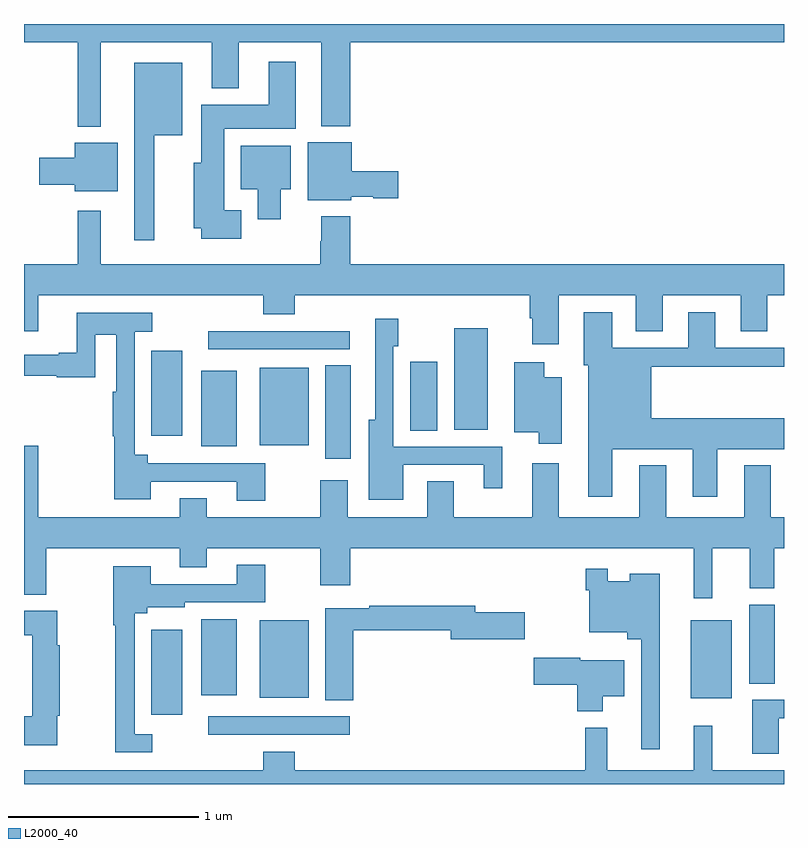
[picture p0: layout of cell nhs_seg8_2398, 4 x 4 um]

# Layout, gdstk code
import gdstk
lib = gdstk.Library(unit=1e-6, precision=1e-09)
def R(c, l, rs):  # rectangles x0, y0, x1, y1
    for r in rs: c.add(gdstk.rectangle(r[:2], r[2:], *l))
def P(c, l, *ps):  # polygons
    for p in ps: c.add(gdstk.Polygon(p, *l))
L2000_40 = (2000, 40)

nhs_seg8_2398 = lib.new_cell('nhs_seg8_2398')
R(nhs_seg8_2398, L2000_40, [(261.969,1142.16,262.714,1142.256), (261.671,1142.265,261.832,1142.713), (264.509,1142.351,264.724,1142.761), (262.241,1142.354,262.498,1142.761), (261.932,1142.366,262.12,1142.767), (264.818,1142.428,264.952,1142.844), (262.586,1143.612,262.72,1144.103), (261.932,1143.677,262.12,1144.075), (262.241,1143.683,262.498,1144.09), (261.671,1143.732,261.832,1144.18), (263.033,1143.76,263.176,1144.123), (263.264,1143.764,263.44,1144.3), (261.969,1144.188,262.714,1144.284)])
P(nhs_seg8_2398, L2000_40, [(261.403,1145.804),(261.989,1145.804),(261.989,1145.561),(262.129,1145.561),(262.129,1145.804),(262.565,1145.804),(262.565,1145.363),(262.718,1145.363),(262.718,1145.804),(265,1145.804),(265,1145.9),(261,1145.9),(261,1145.804),(261.282,1145.804),(261.282,1145.36),(261.403,1145.36)],
  [(262.144,1144.921),(262.054,1144.921),(262.054,1145.348),(262.429,1145.348),(262.429,1145.701),(262.289,1145.701),(262.289,1145.476),(261.932,1145.476),(261.932,1145.17),(261.893,1145.17),(261.893,1144.826),(261.932,1144.826),(261.932,1144.769),(262.144,1144.769)],
  [(261.685,1145.315),(261.832,1145.315),(261.832,1145.695),(261.581,1145.695),(261.581,1144.761),(261.685,1144.761)],
  [(262.722,1144.991),(262.839,1144.991),(262.839,1144.984),(262.969,1144.984),(262.969,1145.126),(262.726,1145.126),(262.726,1145.278),(262.493,1145.278),(262.493,1144.973),(262.722,1144.973)],
  [(261.493,1145.275),(261.266,1145.275),(261.266,1145.195),(261.081,1145.195),(261.081,1145.053),(261.266,1145.053),(261.266,1145.021),(261.493,1145.021)],
  [(262.351,1145.03),(262.405,1145.03),(262.405,1145.26),(262.142,1145.26),(262.142,1145.03),(262.229,1145.03),(262.229,1144.872),(262.351,1144.872)],
  [(263.815,1144.472),(264.221,1144.472),(264.221,1144.282),(264.361,1144.282),(264.361,1144.472),(264.773,1144.472),(264.773,1144.282),(264.913,1144.282),(264.913,1144.472),(265,1144.472),(265,1144.636),(262.718,1144.636),(262.718,1144.888),(262.565,1144.888),(262.565,1144.757),(262.558,1144.757),(262.558,1144.636),(261.403,1144.636),(261.403,1144.918),(261.282,1144.918),(261.282,1144.636),(261,1144.636),(261,1144.284),(261.076,1144.284),(261.076,1144.472),(262.259,1144.472),(262.259,1144.373),(262.424,1144.373),(262.424,1144.472),(263.663,1144.472),(263.663,1144.352),(263.675,1144.352),(263.675,1144.215),(263.815,1144.215)],
  [(264.097,1143.662),(264.521,1143.662),(264.521,1143.411),(264.649,1143.411),(264.649,1143.662),(265,1143.662),(265,1143.826),(264.301,1143.826),(264.301,1144.096),(265,1144.096),(265,1144.197),(264.637,1144.197),(264.637,1144.384),(264.497,1144.384),(264.497,1144.197),(264.097,1144.197),(264.097,1144.384),(263.945,1144.384),(263.945,1144.104),(263.969,1144.104),(263.969,1143.411),(264.097,1143.411)],
  [(262.269,1143.588),(261.652,1143.588),(261.652,1143.634),(261.582,1143.634),(261.582,1144.28),(261.676,1144.28),(261.676,1144.38),(261.278,1144.38),(261.278,1144.171),(261.182,1144.171),(261.182,1144.158),(261,1144.158),(261,1144.05),(261.172,1144.05),(261.172,1144.042),(261.375,1144.042),(261.375,1144.264),(261.486,1144.264),(261.486,1143.965),(261.466,1143.965),(261.466,1143.73),(261.474,1143.73),(261.474,1143.398),(261.667,1143.398),(261.667,1143.492),(262.121,1143.492),(262.121,1143.39),(262.269,1143.39)],
  [(262.996,1143.579),(263.42,1143.579),(263.42,1143.456),(263.518,1143.456),(263.518,1143.675),(262.944,1143.675),(262.944,1144.203),(262.971,1144.203),(262.971,1144.348),(262.848,1144.348),(262.848,1143.817),(262.814,1143.817),(262.814,1143.395),(262.996,1143.395)],
  [(263.83,1144.042),(263.737,1144.042),(263.737,1144.12),(263.579,1144.12),(263.579,1143.752),(263.708,1143.752),(263.708,1143.69),(263.83,1143.69)],
  [(264.623,1143.14),(264.821,1143.14),(264.821,1142.929),(264.949,1142.929),(264.949,1143.14),(265,1143.14),(265,1143.304),(264.931,1143.304),(264.931,1143.577),(264.791,1143.577),(264.791,1143.304),(264.379,1143.304),(264.379,1143.577),(264.239,1143.577),(264.239,1143.304),(263.815,1143.304),(263.815,1143.589),(263.675,1143.589),(263.675,1143.304),(263.263,1143.304),(263.263,1143.494),(263.123,1143.494),(263.123,1143.304),(262.705,1143.304),(262.705,1143.499),(262.558,1143.499),(262.558,1143.304),(261.961,1143.304),(261.961,1143.403),(261.821,1143.403),(261.821,1143.304),(261.076,1143.304),(261.076,1143.679),(261,1143.679),(261,1142.897),(261.117,1142.897),(261.117,1143.14),(261.821,1143.14),(261.821,1143.041),(261.961,1143.041),(261.961,1143.14),(262.558,1143.14),(262.558,1142.946),(262.718,1142.946),(262.718,1143.14),(264.524,1143.14),(264.524,1142.877),(264.623,1142.877)],
  [(261.676,1142.163),(261.582,1142.163),(261.582,1142.798),(261.648,1142.798),(261.648,1142.831),(261.846,1142.831),(261.846,1142.856),(262.269,1142.856),(262.269,1143.055),(262.121,1143.055),(262.121,1142.952),(261.667,1142.952),(261.667,1143.046),(261.47,1143.046),(261.47,1142.735),(261.481,1142.735),(261.481,1142.067),(261.676,1142.067)],
  [(264.346,1143.007),(264.188,1143.007),(264.188,1142.968),(264.072,1142.968),(264.072,1143.034),(263.956,1143.034),(263.956,1142.921),(263.976,1142.921),(263.976,1142.699),(264.176,1142.699),(264.176,1142.663),(264.249,1142.663),(264.249,1142.082),(264.346,1142.082)],
  [(262.733,1142.71),(263.246,1142.71),(263.246,1142.663),(263.635,1142.663),(263.635,1142.805),(263.374,1142.805),(263.374,1142.839),(262.816,1142.839),(262.816,1142.826),(262.586,1142.826),(262.586,1142.341),(262.733,1142.341)],
  [(261.174,1142.259),(261.187,1142.259),(261.187,1142.631),(261.174,1142.631),(261.174,1142.812),(261,1142.812),(261,1142.684),(261.044,1142.684),(261.044,1142.257),(261,1142.257),(261,1142.105),(261.174,1142.105)],
  [(264.046,1142.363),(264.16,1142.363),(264.16,1142.551),(263.928,1142.551),(263.928,1142.564),(263.682,1142.564),(263.682,1142.422),(263.912,1142.422),(263.912,1142.282),(264.046,1142.282)],
  [(264.973,1142.247),(265,1142.247),(265,1142.343),(264.833,1142.343),(264.833,1142.058),(264.973,1142.058)],
  [(262.424,1142.071),(262.259,1142.071),(262.259,1141.972),(261,1141.972),(261,1141.9),(265,1141.9),(265,1141.972),(264.623,1141.972),(264.623,1142.206),(264.524,1142.206),(264.524,1141.972),(264.071,1141.972),(264.071,1142.197),(263.953,1142.197),(263.953,1141.972),(262.424,1141.972)])

lib.write_gds('nhs_seg8_2398.gds')
